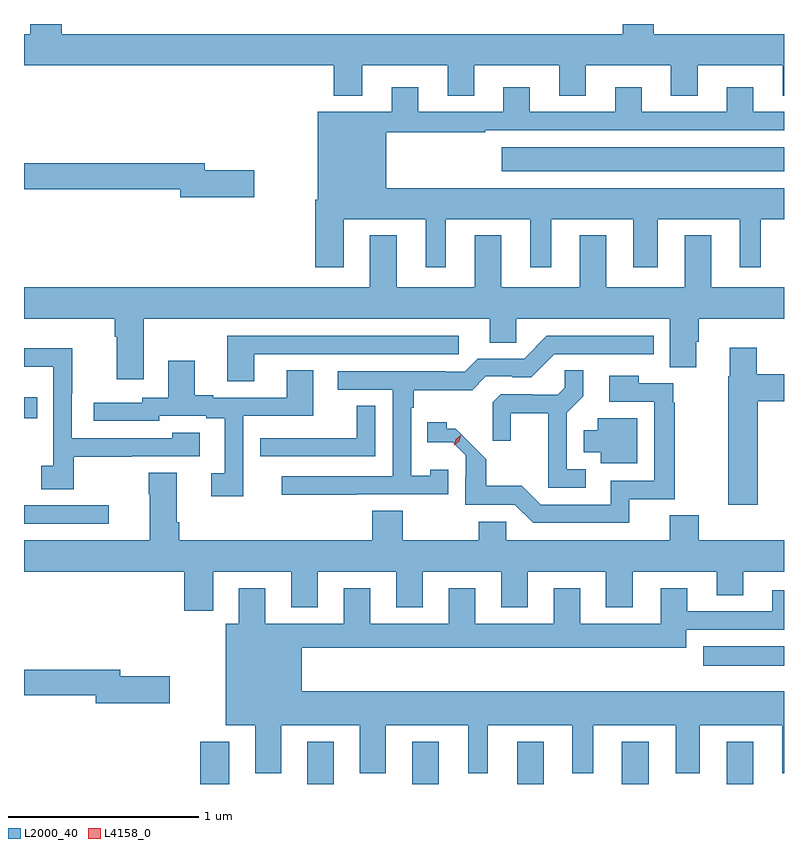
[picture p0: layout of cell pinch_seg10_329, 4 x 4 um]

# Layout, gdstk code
import gdstk
lib = gdstk.Library(unit=1e-6, precision=1e-09)
def R(c, l, rs):  # rectangles x0, y0, x1, y1
    for r in rs: c.add(gdstk.rectangle(r[:2], r[2:], *l))
def A(c, l, x, y, w, h, nx, ny, dx, dy):  # array of equal rectangles
    R(c, l, [(x+i*dx, y+j*dy, x+i*dx+w, y+j*dy+h) for i in range(nx) for j in range(ny)])
def P(c, l, *ps):  # polygons
    for p in ps: c.add(gdstk.Polygon(p, *l))
L2000_40 = (2000, 40)
L4158_0 = (4158, 0)

pinch_seg10_329 = lib.new_cell('pinch_seg10_329')
A(pinch_seg10_329, L2000_40, 509.891, 1279.218, 0.14, 0.223, 5, 1, 0.552, 0)
R(pinch_seg10_329, L2000_40, [(509.327,1279.218,509.479,1279.441), (511.974,1279.841,512.4,1279.942), (508.4,1280.589,508.846,1280.685), (508.4,1281.144,508.469,1281.253), (510.915,1282.442,512.4,1282.57)])
P(pinch_seg10_329, L2000_40, [(510.769,1283),(511.217,1283),(511.217,1282.84),(511.357,1282.84),(511.357,1283),(511.805,1283),(511.805,1282.84),(511.945,1282.84),(511.945,1283),(512.393,1283),(512.393,1282.84),(512.4,1282.84),(512.4,1283.164),(511.714,1283.164),(511.714,1283.218),(511.55,1283.218),(511.55,1283.164),(508.598,1283.164),(508.598,1283.218),(508.433,1283.218),(508.433,1283.164),(508.4,1283.164),(508.4,1283),(510.029,1283),(510.029,1282.841),(510.181,1282.841),(510.181,1283),(510.629,1283),(510.629,1282.84),(510.769,1282.84)],
  [(510.082,1282.19),(510.515,1282.19),(510.515,1281.939),(510.619,1281.939),(510.619,1282.19),(511.064,1282.19),(511.064,1281.939),(511.174,1281.939),(511.174,1282.19),(511.607,1282.19),(511.607,1281.939),(511.735,1281.939),(511.735,1282.19),(512.168,1282.19),(512.168,1281.939),(512.278,1281.939),(512.278,1282.19),(512.4,1282.19),(512.4,1282.354),(510.307,1282.354),(510.307,1282.647),(510.827,1282.647),(510.827,1282.659),(512.4,1282.659),(512.4,1282.755),(512.239,1282.755),(512.239,1282.885),(512.099,1282.885),(512.099,1282.755),(511.651,1282.755),(511.651,1282.885),(511.511,1282.885),(511.511,1282.755),(511.063,1282.755),(511.063,1282.885),(510.923,1282.885),(510.923,1282.755),(510.475,1282.755),(510.475,1282.885),(510.335,1282.885),(510.335,1282.756),(509.945,1282.756),(509.945,1282.294),(509.933,1282.294),(509.933,1281.939),(510.082,1281.939)],
  [(509.611,1282.448),(509.35,1282.448),(509.35,1282.484),(508.4,1282.484),(508.4,1282.348),(509.222,1282.348),(509.222,1282.306),(509.611,1282.306)],
  [(509.029,1281.668),(510.851,1281.668),(510.851,1281.541),(510.99,1281.541),(510.99,1281.668),(511.799,1281.668),(511.799,1281.412),(511.939,1281.412),(511.939,1281.546),(511.952,1281.546),(511.952,1281.668),(512.4,1281.668),(512.4,1281.832),(512.017,1281.832),(512.017,1282.105),(511.877,1282.105),(511.877,1281.832),(511.465,1281.832),(511.465,1282.105),(511.325,1282.105),(511.325,1281.832),(510.913,1281.832),(510.913,1282.105),(510.773,1282.105),(510.773,1281.832),(510.361,1281.832),(510.361,1282.105),(510.221,1282.105),(510.221,1281.832),(508.4,1281.832),(508.4,1281.668),(508.877,1281.668),(508.877,1281.572),(508.889,1281.572),(508.889,1281.348),(509.029,1281.348)],
  [(510.149,1280.742),(510.633,1280.742),(510.633,1280.872),(510.537,1280.872),(510.537,1280.84),(510.438,1280.84),(510.438,1281.197),(510.451,1281.197),(510.451,1281.29),(510.758,1281.29),(510.831,1281.363),(510.97,1281.363),(510.97,1281.36),(511.071,1281.36),(511.191,1281.48),(511.714,1281.48),(511.714,1281.576),(511.152,1281.576),(511.032,1281.456),(510.789,1281.456),(510.72,1281.387),(510.62,1281.387),(510.62,1281.39),(510.051,1281.39),(510.051,1281.294),(510.342,1281.294),(510.342,1280.838),(509.757,1280.838),(509.757,1280.74),(510.149,1280.74)],
  [(509.611,1281.48),(510.688,1281.48),(510.688,1281.576),(509.471,1281.576),(509.471,1281.337),(509.611,1281.337)],
  [(512.261,1281.233),(512.4,1281.233),(512.4,1281.375),(512.256,1281.375),(512.256,1281.514),(512.114,1281.514),(512.114,1281.363),(512.107,1281.363),(512.107,1280.688),(512.261,1280.688)],
  [(508.663,1280.941),(508.967,1280.941),(508.967,1280.943),(509.326,1280.943),(509.326,1281.067),(509.181,1281.067),(509.181,1281.039),(508.65,1281.039),(508.65,1281.272),(508.653,1281.272),(508.653,1281.511),(508.401,1281.511),(508.401,1281.413),(508.554,1281.413),(508.554,1280.892),(508.491,1280.892),(508.491,1280.77),(508.663,1280.77)],
  [(509.553,1281.156),(509.923,1281.156),(509.923,1281.395),(509.783,1281.395),(509.783,1281.252),(509.395,1281.252),(509.395,1281.265),(509.299,1281.265),(509.299,1281.445),(509.159,1281.445),(509.159,1281.252),(509.022,1281.252),(509.022,1281.225),(508.767,1281.225),(508.767,1281.129),(509.112,1281.129),(509.112,1281.156),(509.36,1281.156),(509.36,1281.144),(509.456,1281.144),(509.456,1280.853),(509.385,1280.853),(509.385,1280.733),(509.553,1280.733)],
  [(511.357,1280.874),(511.257,1280.874),(511.257,1281.173),(511.343,1281.259),(511.343,1281.395),(511.245,1281.395),(511.245,1281.304),(511.208,1281.267),(511.074,1281.267),(511.074,1281.27),(510.909,1281.27),(510.867,1281.228),(510.867,1281.024),(510.962,1281.024),(510.962,1281.17),(511.16,1281.17),(511.16,1280.778),(511.357,1280.778)],
  [(511.586,1280.718),(511.825,1280.718),(511.825,1281.224),(511.817,1281.224),(511.817,1281.327),(511.635,1281.327),(511.635,1281.367),(511.479,1281.367),(511.479,1281.231),(511.716,1281.231),(511.716,1280.814),(511.487,1280.814),(511.487,1280.688),(511.119,1280.688),(511.021,1280.787),(510.834,1280.787),(510.834,1280.927),(510.672,1281.089),(510.624,1281.089),(510.624,1281.121),(510.523,1281.121),(510.523,1281.018),(510.656,1281.018),(510.726,1280.948),(510.726,1280.832),(510.723,1280.832),(510.723,1280.688),(510.984,1280.688),(511.08,1280.592),(511.586,1280.592)],
  [(510.249,1281.209),(510.151,1281.209),(510.151,1281.039),(509.755,1281.039),(509.755,1281.038),(509.643,1281.038),(509.643,1280.943),(510.249,1280.943)],
  [(511.627,1281.142),(511.421,1281.142),(511.421,1281.079),(511.346,1281.079),(511.346,1280.963),(511.436,1280.963),(511.436,1280.906),(511.627,1280.906)],
  [(509.395,1280.336),(509.807,1280.336),(509.807,1280.147),(509.947,1280.147),(509.947,1280.336),(510.359,1280.336),(510.359,1280.147),(510.499,1280.147),(510.499,1280.336),(510.911,1280.336),(510.911,1280.147),(511.051,1280.147),(511.051,1280.336),(511.463,1280.336),(511.463,1280.147),(511.603,1280.147),(511.603,1280.336),(512.045,1280.336),(512.045,1280.212),(512.185,1280.212),(512.185,1280.336),(512.4,1280.336),(512.4,1280.5),(511.952,1280.5),(511.952,1280.633),(511.799,1280.633),(511.799,1280.5),(510.939,1280.5),(510.939,1280.598),(510.793,1280.598),(510.793,1280.5),(510.393,1280.5),(510.393,1280.657),(510.233,1280.657),(510.233,1280.5),(509.216,1280.5),(509.216,1280.596),(509.203,1280.596),(509.203,1280.857),(509.056,1280.857),(509.056,1280.744),(509.063,1280.744),(509.063,1280.5),(508.4,1280.5),(508.4,1280.336),(509.243,1280.336),(509.243,1280.13),(509.395,1280.13)],
  [(509.755,1279.526),(510.167,1279.526),(510.167,1279.275),(510.304,1279.275),(510.304,1279.526),(510.737,1279.526),(510.737,1279.275),(510.841,1279.275),(510.841,1279.526),(511.286,1279.526),(511.286,1279.275),(511.396,1279.275),(511.396,1279.526),(511.829,1279.526),(511.829,1279.275),(511.957,1279.275),(511.957,1279.526),(512.39,1279.526),(512.39,1279.275),(512.4,1279.275),(512.4,1279.705),(509.863,1279.705),(509.863,1279.934),(511.885,1279.934),(511.885,1280.031),(512.4,1280.031),(512.4,1280.239),(512.339,1280.239),(512.339,1280.127),(511.891,1280.127),(511.891,1280.248),(511.751,1280.248),(511.751,1280.062),(511.327,1280.062),(511.327,1280.248),(511.187,1280.248),(511.187,1280.062),(510.775,1280.062),(510.775,1280.248),(510.635,1280.248),(510.635,1280.062),(510.223,1280.062),(510.223,1280.248),(510.083,1280.248),(510.083,1280.062),(509.671,1280.062),(509.671,1280.248),(509.531,1280.248),(509.531,1280.062),(509.462,1280.062),(509.462,1279.526),(509.618,1279.526),(509.618,1279.275),(509.755,1279.275)],
  [(509.167,1279.784),(508.906,1279.784),(508.906,1279.82),(508.4,1279.82),(508.4,1279.684),(508.778,1279.684),(508.778,1279.642),(509.167,1279.642)])
P(pinch_seg10_329, L4158_0, [(510.665,1280.999),(510.665,1281),(510.673,1281.032),(510.698,1281.054),(510.698,1281.055),(510.698,1281.054),(510.69,1281.022),(510.665,1281)])

lib.write_gds('pinch_seg10_329.gds')
